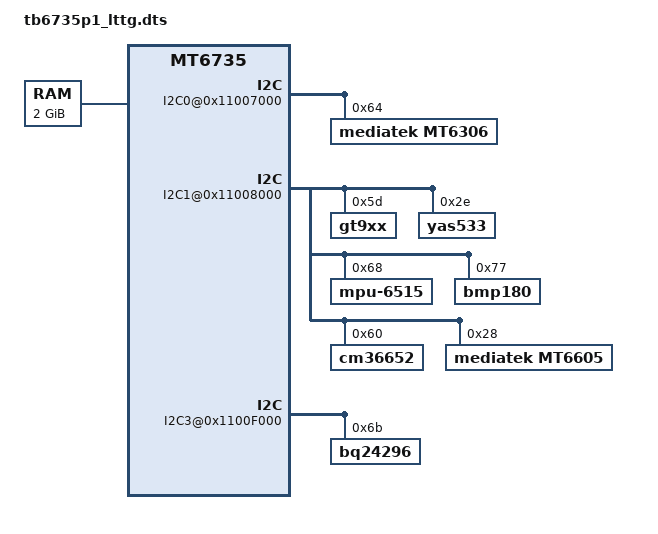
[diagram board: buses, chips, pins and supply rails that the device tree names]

/dts-v1/;

#include "mt6735.dtsi"

/ {
	memory@00000000 {
		device_type = "memory";
		reg = <0 0x40000000 0 0x80000000>;
	};
reserved-memory {
		#address-cells = <2>;
		#size-cells = <2>;
		ranges;

		reserve-memory-ccci_md1 {
			compatible = "reserve-memory-ccci_md1";
			no-map;
			size = <0 0x3010000>; // md_size+smem_size
			alignment = <0 0x2000000>;
			alloc-ranges = <0 0x40000000 0 0xC0000000>;
		};
	};
	bus {
		compatible = "simple-bus";
		#address-cells = <1>;
		#size-cells = <1>;
		ranges = <0 0 0 0xffffffff>;

		MTKFB@5e200000 {
			compatible = "mediatek,MTKFB";
			reg = <0x7F000000 0x1000000>;
		};

		I2C0@0x11007000 {
			mt6306@64 {
				compatible = "mediatek,mt6306";
				reg = <0x64>;
			};
		};

		I2C1@0x11008000 {
			
			gt9xx@5d {
				compatible = "gt9xx";
				reg = <0x5d>;
			};
					
			yas533@2e {
				compatible = "yas533";
				reg = <0x2e>;
			};

			mpu-6515@68 {
				compatible = "mpu-6515";
				reg = <0x68>;
			};

			bmp180@77 {
				compatible = "bmp180";
				reg = <0x77>;
			};

			cm36652@60 {
				compatble = "cm36652";
				reg = <0x60>;
			};

			mt6605@28 {
				compatible = "mediatek,mt6605";
				reg = <0x28>;
			};
		};

		I2C3@0x1100F000 {
			bq24296@6b {
				compatible = "bq24296";
				reg = <0x6b>;
			};
		};
		MT_SOC_DL1_PCM@0x11220000 {
			compatible = "mediatek,mt_soc_pcm_dl1";
			reg = <0x11220000 0x1000>;
			interrupts = <0 144 0x8>;
			audclk-gpio = <143 0>;
			audmiso-gpio = <144 0>;
			audmosi-gpio = <145 0>;
			vowclk-gpio = <148 0>;
			extspkamp-gpio = <129 0>;
			extspkamp_2-gpio = <128 0>;
			rcvspkswitch-gpio = <120 0>;						
			i2s1clk-gpio = <135 0>;
			i2s1dat-gpio = <137 0>;
			i2s1mclk-gpio = <134 0>;
			i2s1ws-gpio = <136 0>;
		};
	};
};
